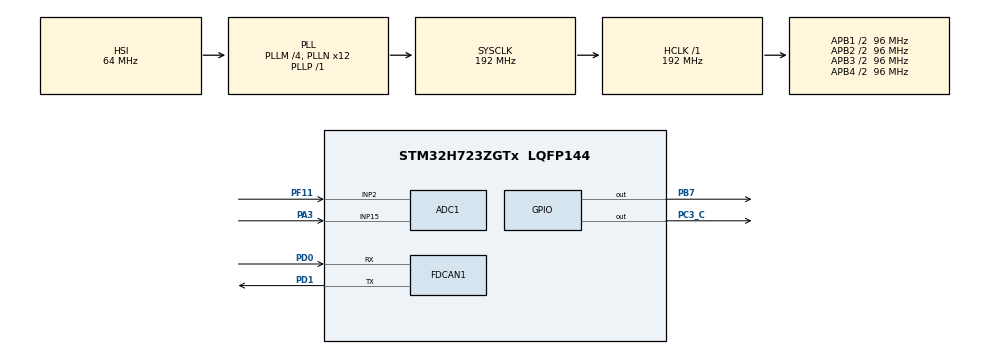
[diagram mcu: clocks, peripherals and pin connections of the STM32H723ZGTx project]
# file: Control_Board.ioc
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ADC1.Channel-0\#ChannelRegularConversion=ADC_CHANNEL_2
ADC1.NbrOfConversionFlag=1
ADC1.OffsetNumber-0\#ChannelRegularConversion=ADC_OFFSET_NONE
ADC1.OffsetSignedSaturation-0\#ChannelRegularConversion=DISABLE
ADC1.Rank-0\#ChannelRegularConversion=1
ADC1.SamplingTime-0\#ChannelRegularConversion=ADC_SAMPLETIME_64CYCLES_5
ADC1.master=1
CORTEX_M7.default_mode_Activation=1
FDCAN1.AutoRetransmission=ENABLE
FDCAN1.CalculateBaudRateNominal=250000
FDCAN1.CalculateTimeBitNominal=4000
FDCAN1.CalculateTimeQuantumNominal=166.66666666666666
FDCAN1.Mode=FDCAN_MODE_NORMAL
FDCAN1.NominalTimeSeg1=20
FDCAN1.NominalTimeSeg2=3
FDCAN1.RxFifo0ElmtsNbr=6
FDCAN1.RxFifo1ElmtsNbr=6
FDCAN1.StdFiltersNbr=2
FDCAN1.TxFifoQueueElmtsNbr=6
FREERTOS.Queues01=CANRxQueue,16,CANRxMessage,0,Dynamic,NULL,NULL;DisplayDataQueue,16,CANRxMessage,0,Dynamic,NULL,NULL;processCAN,16,CANRxMessage,0,Dynamic,NULL,NULL
FREERTOS.Tasks01=PedalControl,24,128,ControlPedal,Default,NULL,Dynamic,NULL,NULL;CANWatchdog,24,128,StartCANWatchdog,Default,NULL,Dynamic,NULL,NULL;APPSCalibration,16,128,StartAPPSCalibration,Default,NULL,Dynamic,NULL,NULL;TestCANSend,24,128,StartTestCANSend,Default,NULL,Dynamic,NULL,NULL;DataDisplay,16,128,StartDataDisplay,Default,NULL,Dynamic,NULL,NULL;Commands,16,128,StartCommands,Default,NULL,Dynamic,NULL,NULL;readCANRX,16,128,StartReadingCANRX,Default,NULL,Dynamic,NULL,NULL;pedalErrorCheck,16,128,StartPedalErrorCheck,Default,NULL,Dynamic,NULL,NULL
FREERTOS.configUSE_NEWLIB_REENTRANT=1
Mcu.Family=STM32H7
Mcu.Name=STM32H723ZGTx
Mcu.Package=LQFP144
NUCLEO-H723ZG.LD1=true
NUCLEO-H723ZG.LD2=true
NUCLEO-H723ZG.LD3=true
NUCLEO-H723ZG.VCP=true
NVIC.FDCAN1_IT0_IRQn=true\:5\:0\:false\:false\:true\:true\:true\:true\:true
NVIC.FDCAN1_IT1_IRQn=true\:5\:0\:false\:false\:true\:true\:true\:true\:true
NVIC.PriorityGroup=NVIC_PRIORITYGROUP_4
NVIC.TIM6_DAC_IRQn=true\:15\:0\:false\:false\:true\:false\:false\:true\:true
NVIC.TimeBase=TIM6_DAC_IRQn
NVIC.TimeBaseIP=TIM6
PA13(JTMS/SWDIO).GPIO_Label=SWDIO
PA13(JTMS/SWDIO).Signal=DEBUG_JTMS-SWDIO
PA14(JTCK/SWCLK).GPIO_Label=SWCLK
PA14(JTCK/SWCLK).Signal=DEBUG_JTCK-SWCLK
PA3.Signal=ADCx_INP15
PB7.Signal=GPIO_Output
PC14-OSC32_IN.Signal=RCC_OSC32_IN
PC15-OSC32_OUT.Signal=RCC_OSC32_OUT
PC3_C.Signal=GPIO_Output
PD0.GPIO_Mode=GPIO_MODE_AF_PP
PD0.GPIO_PuPd=GPIO_NOPULL
PD0.GPIO_Speed=GPIO_SPEED_FREQ_MEDIUM
PD0.Mode=FDCAN_Activate
PD0.Signal=FDCAN1_RX
PD1.GPIO_Speed=GPIO_SPEED_FREQ_MEDIUM
PD1.Mode=FDCAN_Activate
PD1.Signal=FDCAN1_TX
PF11.Mode=IN2-Single-Ended
PF11.Signal=ADC1_INP2
ProjectManager.HeapSize=0x200
ProjectManager.StackSize=0x400
ProjectManager.TargetToolchain=STM32CubeIDE
RCC.ADCFreq_Value=96000000
RCC.APB1Freq_Value=96000000
RCC.APB2Freq_Value=96000000
RCC.APB3Freq_Value=96000000
RCC.APB4Freq_Value=96000000
RCC.CortexFreq_Value=192000000
RCC.D1PPRE=RCC_APB3_DIV2
RCC.D2PPRE1=RCC_APB1_DIV2
RCC.D2PPRE2=RCC_APB2_DIV2
RCC.D3PPRE=RCC_APB4_DIV2
RCC.DIVM1=4
RCC.DIVM2=4
RCC.DIVN1=12
RCC.DIVN2=12
RCC.DIVP1=1
RCC.HCLKFreq_Value=192000000
RCC.HSE_VALUE=8000000
RCC.PLL2FRACN=0
RCC.PLLFRACN=0
RCC.SYSCLKFreq_VALUE=192000000
RCC.SYSCLKSource=RCC_SYSCLKSOURCE_PLLCLK
RCC.USBCLockSelection=RCC_USBCLKSOURCE_HSI48
RCC.USBFreq_Value=48000000
SH.ADCx_INP15.0=ADC1_INP15,IN15-Single-Ended
VP_FREERTOS_VS_CMSIS_V2.Mode=CMSIS_V2
VP_MEMORYMAP_VS_MEMORYMAP.Mode=CurAppReg
VP_NUCLEO-H723ZG_VS_BSP_COMMON.Mode=COMMON
VP_SYS_VS_tim6.Mode=TIM6
board=NUCLEO-H723ZG

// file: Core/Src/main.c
/* USER CODE BEGIN Header */
/**
  ******************************************************************************
  * @file           : main.c
  * @brief          : Main program body
  ******************************************************************************
  * @attention
  *
  * Copyright (c) 2026 STMicroelectronics.
  * All rights reserved.
  *
  * This software is licensed under terms that can be found in the LICENSE file
  * in the root directory of this software component.
  * If no LICENSE file comes with this software, it is provided AS-IS.
  *
  ******************************************************************************
  */
/* USER CODE END Header */
#include "main.h"
#include "FreeRTOS.h"
#include "cmsis_os2.h"
#include "task.h"

/* USER CODE BEGIN Includes */
#include "stm32h7xx_hal.h"
#include <stdio.h>
#include <string.h>
#include <ctype.h>
#include <stdlib.h>
#include <math.h>
#include "stream_buffer.h"

/* USER CODE END Includes */

/* USER CODE BEGIN PD */

//#define DISPLAY_CAN_MESSAGE 1			// Turn this on/off if you want to print/ignore raw CAN Messages
//#define DISPLAY_CAN_ERRORS 1			// Turn this on/off if you want to print/ignore CAN Errors

// Pedal Calibration Inversion Constants
#define  InvertAnalogOnePedal 0 // Swap the max and min pedal voltages on analog line one
#define  InvertAnalogTwoPedal 0 // Swap the max and min pedal voltages on analog line two
#define TEST_MODE

#define UART_BUFFER_SIZE    128
#define COMMAND_BUFFER_SIZE 5
#define TRIGGER 1

/* USER CODE END PD */

COM_InitTypeDef BspCOMInit;
ADC_HandleTypeDef hadc1;

FDCAN_HandleTypeDef hfdcan1;

/* Definitions for PedalControl */
osThreadId_t PedalControlHandle;
const osThreadAttr_t PedalControl_attributes = {
  .name = "PedalControl",
  .stack_size = 128 * 4,
  .priority = (osPriority_t) osPriorityHigh1,
};
/* Definitions for CANWatchdog */
osThreadId_t CANWatchdogHandle;
const osThreadAttr_t CANWatchdog_attributes = {
  .name = "CANWatchdog",
  .stack_size = 128 * 4,
  .priority = (osPriority_t) osPriorityHigh1,
};
/* Definitions for APPSCalibration */
osThreadId_t APPSCalibrationHandle;
const osThreadAttr_t APPSCalibration_attributes = {
  .name = "APPSCalibration",
  .stack_size = 128 * 4,
  .priority = (osPriority_t) osPriorityNormal,
};
/* Definitions for TestCANSend */
osThreadId_t TestCANSendHandle;
const osThreadAttr_t TestCANSend_attributes = {
  .name = "TestCANSend",
  .stack_size = 128 * 4,
  .priority = (osPriority_t) osPriorityNormal,
};
/* Definitions for DataDisplay */
osThreadId_t DataDisplayHandle;
const osThreadAttr_t DataDisplay_attributes = {
  .name = "DataDisplay",
  .stack_size = 128 * 4,
  .priority = (osPriority_t) osPriorityBelowNormal,
};
/* Definitions for Commands */
osThreadId_t CommandsHandle;
const osThreadAttr_t Commands_attributes = {
  .name = "Commands",
  .stack_size = 128 * 4,
  .priority = (osPriority_t) osPriorityBelowNormal,
};
/* Definitions for readCANRX */
osThreadId_t readCANRXHandle;
const osThreadAttr_t readCANRX_attributes = {
  .name = "readCANRX",
  .stack_size = 128 * 4,
  .priority = (osPriority_t) osPriorityBelowNormal,
};
/* Definitions for pedalErrorCheck */
osThreadId_t pedalErrorCheckHandle;
const osThreadAttr_t pedalErrorCheck_attributes = {
  .name = "pedalErrorCheck",
  .stack_size = 128 * 4,
  .priority = (osPriority_t) osPriorityHigh,
};
/* Definitions for CANRxQueue */
osMessageQueueId_t CANRxQueueHandle;
const osMessageQueueAttr_t CANRxQueue_attributes = {
  .name = "CANRxQueue"
};
/* Definitions for DisplayDataQueue */
osMessageQueueId_t DisplayDataQueueHandle;
const osMessageQueueAttr_t DisplayDataQueue_attributes = {
  .name = "DisplayDataQueue"
};
/* Definitions for processCAN */
osMessageQueueId_t processCANHandle;
const osMessageQueueAttr_t processCAN_attributes = {
  .name = "processCAN"
};
/* USER CODE BEGIN PV */

///////////////////////////////////////////////////////////////////////////////////////////////
//////////////////////////////////// Serial Communication /////////////////////////////////////////////////
/////////////////////////////////////////////////////////////////////////////////////////////

StreamBufferHandle_t UARTStreamBuffer;
uint8_t receivedByte = 0; // variable to store byte received from the steam buffer
char commandBuffer[COMMAND_BUFFER_SIZE]; // Buffer to contain commands

uint8_t UART_RxByte;

uint8_t DISPLAY_CAN_MESSAGE = 0;			// Turn this on/off if you want to print/ignore raw CAN Messages
uint8_t DISPLAY_CAN_ERRORS = 0;			// Turn this on/off if you want to print/ignore CAN Errors

///////////////////////////////////////////////////////////////////////////////////////////////
//////////////////////////////////// CAN Bus /////////////////////////////////////////////////
/////////////////////////////////////////////////////////////////////////////////////////////

HAL_StatusTypeDef status;
HAL_StatusTypeDef status2;
HAL_StatusTypeDef status3;
uint32_t txFreeLevel; // Space in TX FIFO left
HAL_FDCAN_StateTypeDef fdcanError;

// global var used by many rtos tasks
// risk of race condition
FDCAN_TxHeaderTypeDef TxHeader; // Header containing the information of the transmitted frame
FDCAN_RxHeaderTypeDef RxHeader; // Header containing the information of the received frame

uint8_t TxData[8] = {0}; // Buffer of the data to send (8 bytes data)
uint8_t WatchDogTxData[8] = {1, 0, 0, 0, 0, 0, 0, 0}; // Random Buffer data to simulate messages for Watchdog
uint8_t RxData[8]; // Buffer of the received data (8 bytes data)
uint32_t TxMailbox; // The number of the email box that transmitted the Tx message

///////////////////////////////////////////////////////////////////////////////////////////////
//////////////////////////////////// Motor Controller ////////////////////////////////////////
/////////////////////////////////////////////////////////////////////////////////////////////

const uint8_t mcNodeId = 0x1a; // Node ID of the MC = 26

// MC commands
const uint16_t cmdSetRelativeCurrent = ((0x05 << 5) + mcNodeId); // Set relative AC current message ID
const uint16_t cmdSetRelativeBrakeCurrent = ((0x06 << 5) + mcNodeId);  // Set relative AC brake current message ID
const uint16_t cmdSetMaxAcCurrent = ((0x06 << 5) + mcNodeId); // Set max AC current limit message ID
const uint16_t cmdSetMaxBrakeCurrent = ((0x09 << 5) + mcNodeId); // Set max AC brake current limit message ID
const uint16_t cmdSetMaxDcCurrent = ((0x0A << 5) + mcNodeId); // Set max DC current limit message ID
const uint16_t cmdSetMaxDcBrakeCurrent = ((0x0B << 5) + mcNodeId); // Set max DC brake current limit message ID
const uint16_t cmdDriveEnable = ((0x0C << 5) + mcNodeId); // Set max DC brake current limit message ID

// Data from MC
const uint16_t RCV_MC_GeneralDataOne = ((0x20 << 5) + mcNodeId); // Using | instead of + wouldn't work here bc there would be overlap between the node ID and the packet ID

// AMS Limits - This is only here temporarily, the limits will be controlled by the AMS
uint16_t DischargeCurrentLimit = 30; // AMS discharge current limit
uint16_t ChargeCurrentLimit = 20; // AMS charge current limit

// Pedal Calibration Constants
float maxPedalVoltage[2] = {3.3, 0.759}; // Max voltages on both analog lines for the pedal input
float minPedalVoltage[2] = {0.5, 0.517}; // Min voltages on both analog lines for the pedal input
float centerPedalVoltage[2] = {0, 0}; // Center voltages on both analog lines for the pedal input. This voltage corresponds position in which braking/throttle is swapped
float PedalDeadbandPercentage = 0.15; // Percent deadband of pedal

// Pedal Error Checking
float maxPedalVoltageDifferencePercentage = 10; //

uint32_t lastThrottleOrBrake = 0; // Gets the time at which a throttle or break CAN message is sent

float testPedalVoltage[2] = {2.0, 1.5}; // temporary test before circuit test implemented
float inputPedalVoltage[2] = {0.0, 0.0}; // voltage that the APPS is outputting to the STM
float inputPedalVoltagePercentages[2] = {0.0, 0.0}; // APPS output voltages as a percentage

char msg[20];
char CANBuffer[100]; // Buffer used to display CAN messages on terminal
uint16_t CalculatedValue = 0; // The value to be sent over to the MC over CAN

uint8_t serialByte; // Rx buffer for data received via USART3/terminal

///////////////////////////////////////////////////////////////////////////////////////////////
////////////////////////////////////CAN Watchdog /////////////////////////////////////////////
/////////////////////////////////////////////////////////////////////////////////////////////

// Initializes variables to be used to check when the last respective message was sent
// uint32_t lastHeartBeatMessage = 0;
 uint32_t lastTemMessage = 0;
 uint32_t lastAmsMessage = 0;
 uint32_t lastMcMessage = 0;
 uint32_t lastChargerMessage = 0;

 uint8_t temSeen = 0;
 uint8_t amsSeen = 0;
 uint8_t mcSeen = 0;
 uint8_t chargerSeen = 0;

// uint32_t lastMessage = 0;
 uint32_t now = 0;

 // Initializes flags to indicate when a certain ECU hasn't sent a message in 500ms, timing out
// uint8_t heartBeatError = 0;
 uint8_t temError = 0;
 uint8_t amsError = 0;
 uint8_t mcError = 0;
 uint8_t chargerError = 0;

 // Creates int to determine if we are charging or not
 uint8_t isCharging = 0;

 static const uint8_t MAX_CAN_MESSAGES = 10; // Maximum # of CAN messages CANWatchdog checks before osDelay

///////////////////////////////////////////////////////////////////////////////////////////////
/////////////////////////////////// Message Display //////////////////////////////////////////
/////////////////////////////////////////////////////////////////////////////////////////////

// Toggle between displaying all or select CAN messages
uint8_t toggleCANRx = 0; // 0 = display all messages, 1 = display select messages
uint8_t packet;

///////////////////////////////////////////////////////////////////////////////////////////////
/////////////////////////////////// Queue Debugging //////////////////////////////////////////
/////////////////////////////////////////////////////////////////////////////////////////////

 uint32_t queueCount; // Amount of items in queue
 uint32_t queueSpace; // Amount of available space left in queue
 osStatus_t queueStatus; // Execution status of the queue

/* USER CODE END PV */

void SystemClock_Config(void);
static void MPU_Config(void);
static void MX_GPIO_Init(void);
static void MX_FDCAN1_Init(void);
static void MX_ADC1_Init(void);
void ControlPedal(void *argument);
void StartCANWatchdog(void *argument);
void StartAPPSCalibration(void *argument);
void StartTestCANSend(void *argument);
void StartDataDisplay(void *argument);
void StartCommands(void *argument);
void StartReadingCANRX(void *argument);
void StartPedalErrorCheck(void *argument);

/* USER CODE BEGIN PFP */

// Prototype for CAN Transmission
HAL_StatusTypeDef CAN_Send(uint32_t id, uint8_t *data, uint32_t length);

// Prototype to see if a certain message hasn't been seen in over 500ms
uint8_t lastMessageSent(uint32_t lastMessage);

/* USER CODE END PFP */

/* USER CODE BEGIN 0 */

typedef struct
{
	uint32_t id;
	uint32_t idType;
	uint32_t dataLength;
	uint8_t data[8];

} CANRxMessage;

CANRxMessage queueBufferMessage; // Data being stored in the queue
CANRxMessage queueBufferRecieved; // Data being read from the queue

// System states
// Bit masks all the states; each state is assigned a 1 and shifted some amount
typedef enum
{
	PEDAL_CALIBRATION 	= (1U << 0), // Assigned 0000 0001
	CAN_PEDAL_CONTROL	= (1U << 1), // Assigned 0000 0010
	MOTOR_SPINNING  	= (1U << 2), // Assigned 0000 0100
	WATCHDOG_FAULTED  	= (1U << 3), // Assigned 0000 1000
	FAULT  				= (1U << 4), // Assigned 0001 0000 (Non-Watchdog Fault)
	READY  				= (1U << 5), // Assigned 0010 0000
} State;

volatile State currentState = WATCHDOG_FAULTED; // init at fault on new boot, changed when safety conditions are met
uint32_t staeFlags = 0; // Variable to hold all the states

/*  More realistic states for future implementation

typedef enum
{
  STATE_INIT,
  STATE_WAITING_FOR_ECUS,
  STATE_READY,
  STATE_RUNNING,
  STATE_APPS_CALIBRATION,
  STATE_CHARGING,
  STATE_FAULT
} SystemState;

SystemState currentState = STATE_INIT;

// helper function to change state for consistency
void setSysState(SystemState newState){
  currentState = newState;
}

// Add state flag

// Clear State flag

*/

/* USER CODE END 0 */

int main(void)
{

  /* USER CODE BEGIN 1 */

//	HAL_Delay(30000); // Delay for when the car starts up

  /* USER CODE END 1 */

  /* MPU Configuration--------------------------------------------------------*/
  MPU_Config();

  /* MCU Configuration--------------------------------------------------------*/

  /* Reset of all peripherals, Initializes the Flash interface and the Systick. */
  HAL_Init();

  /* Configure the system clock */
  SystemClock_Config();

  /* Initialize all configured peripherals */
  MX_GPIO_Init();
  MX_FDCAN1_Init();
  MX_ADC1_Init();
  /* USER CODE BEGIN 2 */

  HAL_NVIC_SetPriority(USART3_IRQn, 5, 0); // Configures interrupt priority for USART3
  HAL_NVIC_EnableIRQ(USART3_IRQn); // Enables the USART interrupt through NVIC

  UARTStreamBuffer = xStreamBufferCreate(UART_BUFFER_SIZE, TRIGGER); // Creates stream buffer for UART commands

  /* USER CODE END 2 */

  /* Init scheduler */
  osKernelInitialize();

  /* Create the queue(s) */
  /* creation of CANRxQueue */
  CANRxQueueHandle = osMessageQueueNew (16, sizeof(CANRxMessage), &CANRxQueue_attributes);

  /* creation of DisplayDataQueue */
  DisplayDataQueueHandle = osMessageQueueNew (16, sizeof(CANRxMessage), &DisplayDataQueue_attributes);

  /* creation of processCAN */
  processCANHandle = osMessageQueueNew (16, sizeof(CANRxMessage), &processCAN_attributes);

  /* Create the thread(s) */
  /* creation of PedalControl */
  PedalControlHandle = osThreadNew(ControlPedal, NULL, &PedalControl_attributes);

  /* creation of CANWatchdog */
  CANWatchdogHandle = osThreadNew(StartCANWatchdog, NULL, &CANWatchdog_attributes);

  /* creation of APPSCalibration */
  APPSCalibrationHandle = osThreadNew(StartAPPSCalibration, NULL, &APPSCalibration_attributes);

  /* creation of TestCANSend */
  TestCANSendHandle = osThreadNew(StartTestCANSend, NULL, &TestCANSend_attributes);

  /* creation of DataDisplay */
  DataDisplayHandle = osThreadNew(StartDataDisplay, NULL, &DataDisplay_attributes);

  /* creation of Commands */
  CommandsHandle = osThreadNew(StartCommands, NULL, &Commands_attributes);

  /* creation of readCANRX */
  readCANRXHandle = osThreadNew(StartReadingCANRX, NULL, &readCANRX_attributes);

  /* creation of pedalErrorCheck */
  pedalErrorCheckHandle = osThreadNew(StartPedalErrorCheck, NULL, &pedalErrorCheck_attributes);

  /* Initialize leds */
  BSP_LED_Init(LED_GREEN);
  BSP_LED_Init(LED_YELLOW);
  BSP_LED_Init(LED_RED);

  /* Initialize COM1 port (115200, 8 bits (7-bit data + 1 stop bit), no parity */
  BspCOMInit.BaudRate   = 115200;
  BspCOMInit.WordLength = COM_WORDLENGTH_8B;
  BspCOMInit.StopBits   = COM_STOPBITS_1;
  BspCOMInit.Parity     = COM_PARITY_NONE;
  BspCOMInit.HwFlowCtl  = COM_HWCONTROL_NONE;
  if (BSP_COM_Init(COM1, &BspCOMInit) != BSP_ERROR_NONE)
  {
    Error_Handler();
  }

  /* Start scheduler */
  osKernelStart();

  /* We should never get here as control is now taken by the scheduler */

  /* Infinite loop */
  while (1)
  {

  }
}

void SystemClock_Config(void)
{
  RCC_OscInitTypeDef RCC_OscInitStruct = {0};
  RCC_ClkInitTypeDef RCC_ClkInitStruct = {0};

  /** Supply configuration update enable
  */
  HAL_PWREx_ConfigSupply(PWR_LDO_SUPPLY);

  /** Configure the main internal regulator output voltage
  */
  __HAL_PWR_VOLTAGESCALING_CONFIG(PWR_REGULATOR_VOLTAGE_SCALE1);

  while(!__HAL_PWR_GET_FLAG(PWR_FLAG_VOSRDY)) {}

  /** Initializes the RCC Oscillators according to the specified parameters
  * in the RCC_OscInitTypeDef structure.
  */
  RCC_OscInitStruct.OscillatorType = RCC_OSCILLATORTYPE_HSI;
  RCC_OscInitStruct.HSIState = RCC_HSI_DIV1;
  RCC_OscInitStruct.HSICalibrationValue = 64;
  RCC_OscInitStruct.PLL.PLLState = RCC_PLL_ON;
  RCC_OscInitStruct.PLL.PLLSource = RCC_PLLSOURCE_HSI;
  RCC_OscInitStruct.PLL.PLLM = 4;
  RCC_OscInitStruct.PLL.PLLN = 12;
  RCC_OscInitStruct.PLL.PLLP = 1;
  RCC_OscInitStruct.PLL.PLLQ = 2;
  RCC_OscInitStruct.PLL.PLLR = 2;
  RCC_OscInitStruct.PLL.PLLRGE = RCC_PLL1VCIRANGE_3;
  RCC_OscInitStruct.PLL.PLLVCOSEL = RCC_PLL1VCOWIDE;
  RCC_OscInitStruct.PLL.PLLFRACN = 0;
  if (HAL_RCC_OscConfig(&RCC_OscInitStruct) != HAL_OK)
  {
    Error_Handler();
  }

  /** Initializes the CPU, AHB and APB buses clocks
  */
  RCC_ClkInitStruct.ClockType = RCC_CLOCKTYPE_HCLK|RCC_CLOCKTYPE_SYSCLK
                              |RCC_CLOCKTYPE_PCLK1|RCC_CLOCKTYPE_PCLK2
                              |RCC_CLOCKTYPE_D3PCLK1|RCC_CLOCKTYPE_D1PCLK1;
  RCC_ClkInitStruct.SYSCLKSource = RCC_SYSCLKSOURCE_PLLCLK;
  RCC_ClkInitStruct.SYSCLKDivider = RCC_SYSCLK_DIV1;
  RCC_ClkInitStruct.AHBCLKDivider = RCC_HCLK_DIV1;
  RCC_ClkInitStruct.APB3CLKDivider = RCC_APB3_DIV2;
  RCC_ClkInitStruct.APB1CLKDivider = RCC_APB1_DIV2;
  RCC_ClkInitStruct.APB2CLKDivider = RCC_APB2_DIV2;
  RCC_ClkInitStruct.APB4CLKDivider = RCC_APB4_DIV2;

  if (HAL_RCC_ClockConfig(&RCC_ClkInitStruct, FLASH_LATENCY_2) != HAL_OK)
  {
    Error_Handler();
  }
}

static void MX_ADC1_Init(void)
{

  ADC_MultiModeTypeDef multimode = {0};
  ADC_ChannelConfTypeDef sConfig = {0};

  /** Common config
  */
  hadc1.Instance = ADC1;
  hadc1.Init.ClockPrescaler = ADC_CLOCK_ASYNC_DIV1;
  hadc1.Init.Resolution = ADC_RESOLUTION_16B;
  hadc1.Init.ScanConvMode = ADC_SCAN_DISABLE;
  hadc1.Init.EOCSelection = ADC_EOC_SINGLE_CONV;
  hadc1.Init.LowPowerAutoWait = DISABLE;
  hadc1.Init.ContinuousConvMode = DISABLE;
  hadc1.Init.NbrOfConversion = 1;
  hadc1.Init.DiscontinuousConvMode = DISABLE;
  hadc1.Init.ExternalTrigConv = ADC_SOFTWARE_START;
  hadc1.Init.ExternalTrigConvEdge = ADC_EXTERNALTRIGCONVEDGE_NONE;
  hadc1.Init.ConversionDataManagement = ADC_CONVERSIONDATA_DR;
  hadc1.Init.Overrun = ADC_OVR_DATA_PRESERVED;
  hadc1.Init.LeftBitShift = ADC_LEFTBITSHIFT_NONE;
  hadc1.Init.OversamplingMode = DISABLE;
  hadc1.Init.Oversampling.Ratio = 1;
  if (HAL_ADC_Init(&hadc1) != HAL_OK)
  {
    Error_Handler();
  }

  /** Configure the ADC multi-mode
  */
  multimode.Mode = ADC_MODE_INDEPENDENT;
  if (HAL_ADCEx_MultiModeConfigChannel(&hadc1, &multimode) != HAL_OK)
  {
    Error_Handler();
  }

  /** Configure Regular Channel
  */
  sConfig.Channel = ADC_CHANNEL_2;
  sConfig.Rank = ADC_REGULAR_RANK_1;
  sConfig.SamplingTime = ADC_SAMPLETIME_64CYCLES_5;
  sConfig.SingleDiff = ADC_SINGLE_ENDED;
  sConfig.OffsetNumber = ADC_OFFSET_NONE;
  sConfig.Offset = 0;
  sConfig.OffsetSignedSaturation = DISABLE;
  if (HAL_ADC_ConfigChannel(&hadc1, &sConfig) != HAL_OK)
  {
    Error_Handler();
  }

}

static void MX_FDCAN1_Init(void)
{

  /* USER CODE BEGIN FDCAN1_Init 0 */

	FDCAN_FilterTypeDef filter = {0}; // Declares filter

  /* USER CODE END FDCAN1_Init 0 */

  hfdcan1.Instance = FDCAN1;
  hfdcan1.Init.FrameFormat = FDCAN_FRAME_CLASSIC;
  hfdcan1.Init.Mode = FDCAN_MODE_INTERNAL_LOOPBACK;
  hfdcan1.Init.AutoRetransmission = ENABLE;
  hfdcan1.Init.TransmitPause = DISABLE;
  hfdcan1.Init.ProtocolException = DISABLE;
  hfdcan1.Init.NominalPrescaler = 16;
  hfdcan1.Init.NominalSyncJumpWidth = 1;
  hfdcan1.Init.NominalTimeSeg1 = 20;
  hfdcan1.Init.NominalTimeSeg2 = 3;
  hfdcan1.Init.DataPrescaler = 1;
  hfdcan1.Init.DataSyncJumpWidth = 1;
  hfdcan1.Init.DataTimeSeg1 = 1;
  hfdcan1.Init.DataTimeSeg2 = 1;
  hfdcan1.Init.MessageRAMOffset = 0;
  hfdcan1.Init.StdFiltersNbr = 2;
  hfdcan1.Init.ExtFiltersNbr = 0;
  hfdcan1.Init.RxFifo0ElmtsNbr = 6;
  hfdcan1.Init.RxFifo0ElmtSize = FDCAN_DATA_BYTES_8;
  hfdcan1.Init.RxFifo1ElmtsNbr = 6;
  hfdcan1.Init.RxFifo1ElmtSize = FDCAN_DATA_BYTES_8;
  hfdcan1.Init.RxBuffersNbr = 0;
  hfdcan1.Init.RxBufferSize = FDCAN_DATA_BYTES_8;
  hfdcan1.Init.TxEventsNbr = 0;
  hfdcan1.Init.TxBuffersNbr = 0;
  hfdcan1.Init.TxFifoQueueElmtsNbr = 32;
  hfdcan1.Init.TxFifoQueueMode = FDCAN_TX_FIFO_OPERATION;
  hfdcan1.Init.TxElmtSize = FDCAN_DATA_BYTES_8;
  if (HAL_FDCAN_Init(&hfdcan1) != HAL_OK)
  {
    Error_Handler();
  }
  /* USER CODE BEGIN FDCAN1_Init 2 */

  // Sets up filters for CAN messages;
  // Filter One
  // Allows all messages to pass

	  filter.IdType = FDCAN_STANDARD_ID;          // Apply this filter to 11-bit Standard IDs
	  filter.FilterIndex = 0;                     // First slot in the filter list (0 to 27)
	  filter.FilterType = FDCAN_FILTER_MASK;      // Classic ID + Mask mode (replaces CAN_FILTERMODE_IDMASK)
	  filter.FilterConfig = FDCAN_FILTER_TO_RXFIFO0; // Route matching packets directly to FIFO0
	  filter.FilterID1 = 0x0000;                  // Base ID to match (accept all if 0)
	  filter.FilterID2 = 0x0000;                  // Mask value (0x0000 means "don't care", accepting all packets)

      if (HAL_FDCAN_ConfigFilter(&hfdcan1, &filter) != HAL_OK) // checks to see if filter is configured correctly
      {
    	  // Filter configuration error
    	  Error_Handler();
      }

      // Starts CAN peripheral if filter config is good
      if (HAL_FDCAN_Start(&hfdcan1) != HAL_OK) // Tries to start CAN and checks for error
      {
    	  Error_Handler();
      }

      // Activate CAN RX notifications on FIFO0
      if (HAL_FDCAN_ActivateNotification(&hfdcan1, FDCAN_IT_RX_FIFO0_NEW_MESSAGE, 0) != HAL_OK) // 0 means it only focuses on Rx interrupts
      {
    	  Error_Handler();
      }

//      TxData[0] = 0;
//      TxData[7] = 0xFF;

  /* USER CODE END FDCAN1_Init 2 */

}

static void MX_GPIO_Init(void)
{
  GPIO_InitTypeDef GPIO_InitStruct = {0};

  /* GPIO Ports Clock Enable */
  __HAL_RCC_GPIOC_CLK_ENABLE();
  __HAL_RCC_GPIOF_CLK_ENABLE();
  __HAL_RCC_GPIOA_CLK_ENABLE();
  __HAL_RCC_GPIOD_CLK_ENABLE();
  __HAL_RCC_GPIOB_CLK_ENABLE();

  /*Configure GPIO pin Output Level */
  HAL_GPIO_WritePin(GPIOC, GPIO_PIN_3, GPIO_PIN_RESET);

  /*Configure GPIO pin Output Level */
  HAL_GPIO_WritePin(GPIOB, GPIO_PIN_7, GPIO_PIN_RESET);

  /*Configure GPIO pin : PC3 */
  GPIO_InitStruct.Pin = GPIO_PIN_3;
  GPIO_InitStruct.Mode = GPIO_MODE_OUTPUT_PP;
  GPIO_InitStruct.Pull = GPIO_NOPULL;
  GPIO_InitStruct.Speed = GPIO_SPEED_FREQ_LOW;
  HAL_GPIO_Init(GPIOC, &GPIO_InitStruct);

  /*Configure GPIO pin : PB7 */
  GPIO_InitStruct.Pin = GPIO_PIN_7;
  GPIO_InitStruct.Mode = GPIO_MODE_OUTPUT_PP;
  GPIO_InitStruct.Pull = GPIO_NOPULL;
  GPIO_InitStruct.Speed = GPIO_SPEED_FREQ_LOW;
  HAL_GPIO_Init(GPIOB, &GPIO_InitStruct);

  /*AnalogSwitch Config */
  HAL_SYSCFG_AnalogSwitchConfig(SYSCFG_SWITCH_PC3, SYSCFG_SWITCH_PC3_CLOSE);

}

/* USER CODE BEGIN 4 */

// Callback function for data received on UART3/terminal
void HAL_UART_RxCpltCallback(UART_HandleTypeDef *huart)
{
	BaseType_t xHigherPriorityTaskWoken = pdFALSE; // Need to explain this later

    if (huart == &hcom_uart[COM1]) // Checks which COM/UART triggered the callback function. In this case, COM1/UART3
    {
//    	printf("Received: %c\r\n", serialByte); // Echoes back what was inputed into the terminal

    	 // Stores received byte into the streambuffer
		 xStreamBufferSendFromISR(
				 UARTStreamBuffer, // The handle of the stream buffer to which a stream is being sent.
				 &serialByte, // Pointer to buffer that holds the values to be copied into the stream buffer
				 1, //
				 &xHigherPriorityTaskWoken );

        HAL_UART_Receive_IT(&hcom_uart[COM1], &serialByte, 1); // Tells HAL to continue waiting for 1  byte of data from the terminal

        portYIELD_FROM_ISR( xHigherPriorityTaskWoken ); // Allows higher priority task to execute immediately after the ISR exits.
    }
}

// Callback function for data received on FIFO0
void HAL_FDCAN_RxFifo0Callback(FDCAN_HandleTypeDef *hfdcan, uint32_t RxFifo0ITs)
{

	 if((RxFifo0ITs & FDCAN_IT_RX_FIFO0_NEW_MESSAGE) != RESET)
	 {
		 /* Retrieve Rx messages from RX FIFO0 */
		 if (HAL_FDCAN_GetRxMessage(hfdcan, FDCAN_RX_FIFO0, &RxHeader, RxData) != HAL_OK)
		 {
			 // Reception Error; error thrown if the receive fails
			 Error_Handler();
		 }

	 }

//	 lastMessage = HAL_GetTick();

	 now = HAL_GetTick();
//   BSP_LED_On(LED_RED);
   	 CANRxMessage CANmsg;
	 CANmsg.id = RxHeader.Identifier;
	 CANmsg.idType = RxHeader.IdType;
	 CANmsg.dataLength = RxHeader.DataLength;
	 memcpy(CANmsg.data, RxData, 8); // Passes a copy of RxData to CANmsg.data; '=' would not work here since array assignment can't be done, plus it would become a pointer
//	 queueBufferMessage = CANmsg;

	 osMessageQueuePut(CANRxQueueHandle, &CANmsg, 0, 0); // Adds received CAN message to CANRx queue
	 osMessageQueuePut(processCANHandle, &CANmsg, 0, 0); // Adds received CAN message to CANRx queue
	 osMessageQueuePut(DisplayDataQueueHandle, &CANmsg, 0, 0);

}

// CAN Transmit Function
HAL_StatusTypeDef CAN_Send(uint32_t id, uint8_t *data, uint32_t length)
{
    // local to the function; see global declaration comments
    FDCAN_TxHeaderTypeDef txHeader = {0};
//    CAN_TxHeaderTypeDef txHeader;
//    uint32_t TxMailbox;
	  txHeader.Identifier = id;
	  txHeader.TxFrameType  = FDCAN_DATA_FRAME; // Remote Transmission Request (RTR) tells CAN controller we are sending data
	  txHeader.IdType  = FDCAN_STANDARD_ID; // Identifies if we are using extended(29-bit) or standard (11-bit) CAN; It is currently set to standard

	  switch (length)
	  {
	      case 0: txHeader.DataLength = FDCAN_DLC_BYTES_0; break; // Data Length Code (DLC) -- The number of bytes in the data frame
	      case 1: txHeader.DataLength = FDCAN_DLC_BYTES_1; break;
	      case 2: txHeader.DataLength = FDCAN_DLC_BYTES_2; break;
	      case 3: txHeader.DataLength = FDCAN_DLC_BYTES_3; break;
	      case 4: txHeader.DataLength = FDCAN_DLC_BYTES_4; break;
	      case 5: txHeader.DataLength = FDCAN_DLC_BYTES_5; break;
	      case 6: txHeader.DataLength = FDCAN_DLC_BYTES_6; break;
	      case 7: txHeader.DataLength = FDCAN_DLC_BYTES_7; break;
	      case 8: txHeader.DataLength = FDCAN_DLC_BYTES_8; break;

	      default:
	          // Invalid CAN payload length
	    	  txHeader.DataLength = FDCAN_DLC_BYTES_8; break;
	          break;
	  }

	  txHeader.FDFormat = FDCAN_CLASSIC_CAN;   // Configures behavior as standard CAN
	  txHeader.BitRateSwitch = FDCAN_BRS_OFF;  // No fast data baud-rate switching (this is for standard CAN)
	  txHeader.ErrorStateIndicator = FDCAN_ESI_ACTIVE;
	  txHeader.TxEventFifoControl = FDCAN_NO_TX_EVENTS; // Disables internal timestamp when sending data
	  txHeader.MessageMarker = 0; // Doesn't matter since FIFOControl is off

	  txFreeLevel = HAL_FDCAN_GetTxFifoFreeLevel(&hfdcan1); // returns 0 -> FIFO is Full
	  	while ((status2 = HAL_FDCAN_AddMessageToTxFifoQ(&hfdcan1, &txHeader, data)) != HAL_OK) // Wait till a Tx mailbox is free.
	  	{
//	  		txFreeLevel = HAL_FDCAN_GetTxFifoFreeLevel(&hfdcan1); // returns 0 -> FIFO is Full
//	  		fdcanError = hfdcan1.ErrorCode; // Returns 32 = 0x20 -> FIFO is Full
	  		osDelay(50); // Give back control to scheduler for 1ms

	  	}
//    return HAL_FDCAN_AddMessageToTxFifoQ(&hfdcan1, &txHeader, data);
//           --> status2
	  	return status2;
}

// Function to check if a certain message was received over the last half second
uint8_t lastMessageSent(uint32_t lastMessage){
	if ((HAL_GetTick() - lastMessage) >= 500) { // 500ms = 0.5s
		return 1;
	}
	return 0;
}

// Function that performs the Watchdog checks
void watchdogCheck(CANRxMessage canMSG)
{
	 switch (canMSG.id){
		case 0x080:
		  lastTemMessage = now;
		  temSeen = 1;
		  break;

		case 0x7E3:
		  lastAmsMessage = now;
		  amsSeen = 1;

		  if (canMSG.data[0] == 0xFF){
			isCharging = 1;

			if (DISPLAY_CAN_ERRORS){
			  if (canMSG.data[1] != 0x00){
				printf("AMS CAN Charging Message is Corrupt.\r\n");
				fflush(stdout);
			  }
			}
		  } else if (canMSG.data[0] == 0x00){
			isCharging = 0;

			if (DISPLAY_CAN_ERRORS){
			  if (canMSG.data[1] != 0xFF){
				printf("AMS CAN Charging Message is Corrupt.\r\n");
				fflush(stdout);
			  }
			}
		  }

		  break;

		case 0x41A: // (0x20 << 5) + 0x1a
		  lastMcMessage = now;
		  mcSeen = 1;
		  break;

		case 0x18FF50E5:
		  lastChargerMessage = now;
		  chargerSeen = 1;
		  break;
	 }

	 // Check if each message has been received over the past half second
	 //heartBeatError = lastMessageSent(lastHeartBeatMessage);

	  temError = lastMessageSent(lastTemMessage);
	  amsError = lastMessageSent(lastAmsMessage);
	  mcError = lastMessageSent(lastMcMessage);

	  if (isCharging){
		chargerError = lastMessageSent(lastChargerMessage);
	  } else {
		chargerError = 0;
	  }

	  if (temError || amsError || mcError || chargerError){

		// Uses on board LED or external LEDs depending on whether the STM is in test mode
		// BSP LED syntax will not be highlighted if not in TEST mode, and vice versa
		#ifdef TEST_MODE

			BSP_LED_On(LED_RED);
			BSP_LED_Off(LED_GREEN);

		#else

			HAL_GPIO_WritePin(GPIOB, GPIO_PIN_7, GPIO_PIN_SET); // This turns the LED on
			HAL_GPIO_WritePin(GPIOC, GPIO_PIN_3, GPIO_PIN_RESET);

		#endif

		// Displays to the console any errors
		if(DISPLAY_CAN_ERRORS){
 //			  if(heartBeatError)
 //			  {
 //				  printf("Heartbeat message not received within 500ms.\r\n");
 //				  fflush(stdout);
 //			  }
		  if(temError)
		  {
			printf("TEM message not received within 500ms.\r\n");
			fflush(stdout);
		  }
		  if(amsError)
		  {
			printf("AMS message not received within 500ms.\r\n");
			fflush(stdout);
		  }
		  if(mcError)
		  {
			printf("MC message not received within 500ms.\r\n");
			fflush(stdout);
		  }
		  if(chargerError)
		  {
			printf("Charger message not received within 500ms.\r\n");
			fflush(stdout);
		  }
		}
	  } else {

			#ifdef TEST_MODE

		        BSP_LED_Off(LED_RED);
		        BSP_LED_On(LED_GREEN);

			#else

				HAL_GPIO_WritePin(GPIOB, GPIO_PIN_7, GPIO_PIN_RESET); // This turns the LED off
				HAL_GPIO_WritePin(GPIOC, GPIO_PIN_3, GPIO_PIN_SET);

			#endif
	  }
}

/* USER CODE END 4 */

void ControlPedal(void *argument)
{
  /* USER CODE BEGIN 5 */

	uint32_t throttleCommandReceived;

	HAL_ADC_Start(&hadc1); // Starts ADC1 on STM32
//  osThreadSuspend(PedalControlHandle);
	centerPedalVoltage[0] = ((maxPedalVoltage[0] - minPedalVoltage[0]) / 2);
	centerPedalVoltage[1] = ((maxPedalVoltage[1] - minPedalVoltage[1]) / 2);

  FDCAN_TxHeaderTypeDef pedalTxHeader = {0};

  pedalTxHeader.TxFrameType = FDCAN_DATA_FRAME;
  pedalTxHeader.IdType = FDCAN_STANDARD_ID;
  pedalTxHeader.DataLength = FDCAN_DLC_BYTES_8;
  pedalTxHeader.FDFormat = FDCAN_CLASSIC_CAN;
  pedalTxHeader.BitRateSwitch = FDCAN_BRS_OFF;
  pedalTxHeader.ErrorStateIndicator = FDCAN_ESI_ACTIVE;
  pedalTxHeader.TxEventFifoControl = FDCAN_NO_TX_EVENTS;
  pedalTxHeader.MessageMarker = 0;

  /* Infinite loop */
  for(;;)
  {
	  memset(TxData, 0xFF, sizeof(TxData)); // Sets all the bytes in TxData to 0xFF

//	  pedalTxHeader.Identifier = CMD_DriveEnable;
//	  TxData[0] = (1 >> 8) & 0xFF;   // 0x00
//	  TxData[1] = 1 & 0xFF;          // 0xc8

#ifdef TEST_MODE

//	  if(0) // Check if state is in serial CAN control
//	  {
//		  if (xTaskNotifyWait(
//		                  0,
//		                  UINT32_MAX,
//		                  &throttleCommandReceived, // The variable to pass
//		                  portMAX_DELAY) == pdPASS)
//		          {
//		              // Process received throttle command
//		              printf("Throttle Command Received \r\n");
//		          }
//
//	  }
//	  else // Use analog control
//	  {
	  if (xTaskNotifyWait(
	                  0,
	                  UINT32_MAX,
	                  &throttleCommandReceived, // The variable to pass
	                  portMAX_DELAY) == pdPASS)
	          {
	              // Process received throttle command
	              printf("Throttle Command Received \r\n");
	          }

	      inputPedalVoltage[0] = testPedalVoltage[0];
	      inputPedalVoltage[1] = testPedalVoltage[1];
//	  }

#else
	  //	UBaseType_t highWaterMark;

	  	  if (HAL_ADC_PollForConversion(&hadc1, 20) == HAL_OK) // ADC data collected via polling with timeout of 20 units
	  	  {
	  		  inputPedalVoltage[0] = (HAL_ADC_GetValue(&hadc1)) * (3.3 / 65535); // Pedal voltage in 3.3V range

	  	  }
#endif
	  	// Will need to think about what to do when pedal voltage is exactly the center voltage. However, this is where deadband may come in
	  	if (inputPedalVoltage[0] > centerPedalVoltage[0] && inputPedalVoltage[0] <= maxPedalVoltage[0]) // Checks if the car is trying to accelerate and is not faulted
	  	{

	  		pedalTxHeader.Identifier = cmdSetRelativeCurrent; // ID the STM is transmitting with

	  		CalculatedValue = ((inputPedalVoltage[0] - centerPedalVoltage[0]) / (maxPedalVoltage[0] - centerPedalVoltage[0])) * 1000;

	  		// Splits 16 bit calculated value into two separate bytes. This is because the MC expects a 2 byte long data frame
	  		// Shifting order is because of Big Endian format on MC
	  		// 0xFF used to explicitly select the correct bits to be sent.

	  		TxData[0] = (CalculatedValue >> 8) & 0xFF;   // 0x00
	  		TxData[1] = CalculatedValue & 0xFF;          // 0xc8

	  	}
	  	else if (inputPedalVoltage[0] < centerPedalVoltage[0] && inputPedalVoltage[0] >= minPedalVoltage[0]) // Checks if the car is braking and is not faulted
	  	{
	  		pedalTxHeader.Identifier = cmdSetRelativeBrakeCurrent; // ID the STM is transmitting with

	  		CalculatedValue = ((inputPedalVoltage[0] - minPedalVoltage[0]) / (centerPedalVoltage[0] - minPedalVoltage[0])) * 1000;

	  		TxData[0] = (CalculatedValue >> 8) & 0xFF;   // 0x00; Shifts the value to the right by 1 byte, allowing only 0s to be read with masking
	  		TxData[1] = CalculatedValue & 0xFF;          // 0xc8; Only reads the actual value
	  	}
	  	else
	  	{

//	  		pedalTxHeader.Identifier = cmdDriveEnable;
//		    TxData[0] = (0 >> 8) & 0xFF;   // 0x00
//		    TxData[1] = 0 & 0xFF;
	  	}

  		txFreeLevel = HAL_FDCAN_GetTxFifoFreeLevel(&hfdcan1); // returns 0 -> FIFO is Full
  		//fdcanError = hfdcan1.ErrorCode; // Returns 32 = 0x20 -> FIFO is Full
  		fdcanError = HAL_FDCAN_GetError(&hfdcan1);

	  	while ((status = HAL_FDCAN_AddMessageToTxFifoQ(&hfdcan1, &pedalTxHeader, TxData)) != HAL_OK) // Wait till a Tx mailbox is free.
	  	{
//	  		txFreeLevel = HAL_FDCAN_GetTxFifoFreeLevel(&hfdcan1); // returns 0 -> FIFO is Full
//	  		fdcanError = hfdcan1.ErrorCode; // Returns 32 = 0x20 -> FIFO is Full
	  		BSP_LED_Toggle(LED_YELLOW);
	  		osDelay(50); // Give back control to scheduler for 1ms
//	  		Error_Handler();

	  	}

//	  //	highWaterMark = uxTaskGetStackHighWaterMark(NULL);
//	  //
//	  //	printf("Unused stack: %lu words\r\n", (uint32_t)highWaterMark); // Prints how much space a task is not using

	    osDelay(20); // Without delay the Tx Mailbox reaches an error, most likely it fills up to quick. Needs to be checked to confirm
  }
  /* USER CODE END 5 */
}

void StartCANWatchdog(void *argument)
{
  /* USER CODE BEGIN StartCANWatchdog */
  /* Infinite loop */
  for(;;)
  {

	// Process the first CAN message in a batch of 10 CAN messages
	// the following watchdog relies on receiving messages from osMessageQueueGet()
	// if nothing arrives (i.e., all ECUs are dead) it will stop functioning

	 queueCount = osMessageQueueGetCount(CANRxQueueHandle);
	 queueSpace = osMessageQueueGetSpace(CANRxQueueHandle);

	 CANRxMessage canMSG;
	 osMessageQueueGet(CANRxQueueHandle, &canMSG, NULL, 100); // Gets and removes item from CANRx queue; puts task in blocked state for 100ms if queue is full

	 queueBufferRecieved = canMSG; // For testing

	// Based on the CAN ID, determines what ECU sent the message, and update the time that
	// the ECU sent it's message, as well as resetting any error
	 watchdogCheck(canMSG);

	  // Check the 9 other CAN messages in a batch
	  for (int i = 0; i < (MAX_CAN_MESSAGES - 1); i++)
	  {
		  if (osMessageQueueGet(CANRxQueueHandle, &canMSG, NULL, 100) == osOK) // Blocks for 100ms unless CAN message obtained from queue
		  {
			  watchdogCheck(canMSG);
		  }
		  else
		  {
			  break;
		  }
	  }

	  osDelay(50);
  }
  /* USER CODE END StartCANWatchdog */
}

void StartAPPSCalibration(void *argument)
{
  /* USER CODE BEGIN StartAPPSCalibration */
	printf("APPS Calibration Started \r\n");
	osThreadSuspend(APPSCalibrationHandle); // Suspends APPS calibration task
//	printf("APPS Calibration Started");

  /* Infinite loop */
  for(;;)
  {
	// Task should be suspended if the motor is spinning
//	  BSP_LED_Toggle(LED_YELLOW);
	  HAL_ADC_Start(&hadc1); // Starts ADC1 on STM32

	  if (HAL_ADC_PollForConversion(&hadc1, 20) == HAL_OK)
	  {
		  inputPedalVoltage[0] = (HAL_ADC_GetValue(&hadc1)) * (3.3 / 65535);
//		  BSP_LED_Toggle(LED_YELLOW);

	  }
	  else
	  {
//		  BSP_LED_Toggle(LED_RED);
	  }

	  if (inputPedalVoltage[0] > maxPedalVoltage[0])
	  {
		  maxPedalVoltage[0] = inputPedalVoltage[0];
	  }
	  else if (inputPedalVoltage[0] < minPedalVoltage[0])
	  {
		minPedalVoltage[0] = inputPedalVoltage[0];;
	  }

	  // centerPedalVoltage = minPedalVoltage + ((maxPedalVoltage - minPedalVoltage) / 2);

	  // printf("Max Pedal Voltage: %.3f ", maxPedalVoltage[0]);
	  // printf("Min Pedal Voltage: %.3f ", minPedalVoltage[0]);
	  printf("Reading Pedal Voltage... \r\n");

    //osDelay(20); // Take off for now to allow give scheduler full control of switching
  }
  /* USER CODE END StartAPPSCalibration */
}

void StartTestCANSend(void *argument)
{
  /* USER CODE BEGIN StartTestCANSend */
  /* Infinite loop */
  for(;;)
  {

	 // Send placeholder CAN messages
	 CAN_Send(0x080, WatchDogTxData, 8); // TEM message
	 CAN_Send(0x7E3, WatchDogTxData, 8); // AMS message
//	 CAN_Send(cmdDriveEnable, WatchDogTxData, 8); // MC message

	 CAN_Send(RCV_MC_GeneralDataOne, WatchDogTxData, 8); // General MC data

	 osDelay(50);
  }
  /* USER CODE END StartTestCANSend */
}

void StartDataDisplay(void *argument)
{
  /* USER CODE BEGIN StartDataDisplay */
  /* Infinite loop */
  for(;;)
  {

	// Display the CAN message to the serial monitor
	if(DISPLAY_CAN_MESSAGE){

	    CANRxMessage CANPrintmsg;
	    osMessageQueueGet(DisplayDataQueueHandle, &CANPrintmsg, NULL, osWaitForever); // Pull data from DisplayData queue

		// Change Print syntax based on standard vs. extended
		if (CANPrintmsg.idType == FDCAN_STANDARD_ID){
			printf("RX STD ID: 0x%03lX | Data:", CANPrintmsg.id);
		}
		else{
			printf("RX EXT ID: 0x%08lX | Data:", CANPrintmsg.id);
		}

		for (int i = 0; i < CANPrintmsg.dataLength; i++)
			printf(" %02X", CANPrintmsg.data[i]);

		printf("\r\n");
//		osDelay(50); // Commented out to allow scheduler to take control of context switch

	}
	else
	{
		osThreadSuspend(DataDisplayHandle); // Suspends the DataDisplay task
	}
  }
  /* USER CODE END StartDataDisplay */
}

void StartCommands(void *argument)
{
  /* USER CODE BEGIN StartCommands */

	if( UARTStreamBuffer == NULL )
	{
	  /* There was not enough heap memory space available to create the
		 stream buffer. */
	  printf("Stream creation unsuccessful \r\n");
	}
	else
  	{
	  /* The stream buffer was created successfully and can now be used. */
	  printf("Stream Buffer Created \r\n");
  	}

//	uint8_t receivedByte = 0; // variable to store byte received from the steam buffer

	uint8_t charCommand = 0;

//	char commandBuffer[COMMAND_BUFFER_SIZE]; // Buffer to contain commands
	uint16_t commandIndex = 0; // Index for buffer

	uint32_t throttleCommand = 0.0;

	memset(commandBuffer, 0, sizeof(commandBuffer));   // Initialize commandBuffer to have all 0s

	HAL_UART_Receive_IT(&hcom_uart[COM1], &serialByte, 1);  // Receives 1 byte of data and triggers interrupt;

  /* Infinite loop */
  for(;;)
  {

	// Wait until one byte is received
    xStreamBufferReceive(
        UARTStreamBuffer,
        &receivedByte, // Reference to variable to store the received byte
        1,
        portMAX_DELAY // Wait forever, indefinitely blocks the tasks
    );

    if (receivedByte == 'y') // Check if enter was pressed (corresponds to the end of a command)
    {
    	commandBuffer[commandIndex] = 'F'; // Marks the end of the command

    	if (commandIndex > 1)
    	{
    		if (1) // Check if state is serial CAN control
    		{
    			// Figure out throttle command

    	        // Send throttle command to motor control task
    	        xTaskNotify(
    	            (TaskHandle_t)PedalControlHandle, // Task to notify
    	            throttleCommand, // Value being sent to the receiving task
    	            eSetValueWithOverwrite // Overwrite old notification when a new one is ready (maybe not)
    	        );
    		}
    		commandIndex = 0;
    		printf("Multi-character input \r\n");
    	}
    	else
    	{

    		charCommand = commandBuffer[0];
    		switch(charCommand) // Reads values as ascii characters; numbers need to be converted to char type before checking
			{
				case 'a':
				{
					//osThreadSuspend(DataDisplayHandle);
					DISPLAY_CAN_MESSAGE = 0;
					//DISPLAY_CAN_ERRORS = 0;
					break;
				}
				case 'd':
				{
					//osThreadResume(DataDisplayHandle);
					DISPLAY_CAN_MESSAGE = 1;
					//DISPLAY_CAN_ERRORS = 1;
					osThreadResume(DataDisplayHandle);
					break;
				}
				case 'c': // Begin pedal calibration
				{
					if (currentState == MOTOR_SPINNING) // Don't allow calibration to begin if the motor is still rotating
					{
						break;
					}

					DISPLAY_CAN_MESSAGE = 0;
					printf("Starting Pedal Calibration... \r\n");
					status3 = osThreadSuspend(PedalControlHandle); // Suspends pedal control task

					//osDelay(50);

					// start at the opposite end and calibrate towards the desired end
					// 0.0 --up--> max
					// 3.3 -down-> min
					maxPedalVoltage[0] = 0.0f;
					minPedalVoltage[0] = 3.3f;

					printf("Click enter to complete calibration \r\n");
					osThreadResume(APPSCalibrationHandle); // Resumes APPS calibration task

					break; // Without break, other cases below will all execute until a break statement occurs
				}
				case 'x': // Space bar is clicked; end pedal calibration
				{
					centerPedalVoltage[0] = ((maxPedalVoltage[0] - minPedalVoltage[0]) / 2);
					centerPedalVoltage[1] = ((maxPedalVoltage[1] - minPedalVoltage[1]) / 2);
					osThreadSuspend(APPSCalibrationHandle);
					printf("Ending Pedal Calibration...");
					DISPLAY_CAN_MESSAGE = 1;
					osThreadResume(PedalControlHandle);

					//osThreadResume(DataDisplayHandle);
					break;
				}
				// case 't': // Toggles display variable for displaying CAN messages
				// {
				// toggleCANRx = !toggleCANRx; // toggles the value of toggleCANRx; 0 -> 1, 1 -> 0
				// break;
				// }
				#ifdef TEST_MODE
					case 'p': // Allows values to be entered for CAN pedal control
					{
						BSP_LED_Toggle(LED_RED);
					}
				#endif

				default: break;
			}
    		charCommand = 0;
    		commandIndex = 0;
    		memset(commandBuffer, 0, sizeof(commandBuffer));   // Initialize commandBuffer to have all 0s
    	}
    }
    else // Add the received byte to the commandBuffer
    {
    	commandBuffer[commandIndex++] = serialByte; // Post increment; writes to index 0 and then starts incrementing
    }

	 // Tells HAL to enable reception via interrupt
	 // Tells HAL to continue waiting for another byte of data from the terminal
	 // Commands do not work if this is commented out
	 HAL_UART_Receive_IT(&hcom_uart[COM1], &serialByte, 1);  // Receives 1 byte of data and triggers interrupt;

//   osDelay(50);
  }
  /* USER CODE END StartCommands */
}

void StartReadingCANRX(void *argument)
{
  /* USER CODE BEGIN StartReadingCANRX */
  /* Infinite loop */
  for(;;)
  {
//	CANRxMessage readCAN;
//	osMessageQueueGet(processCANHandle, &readCAN, NULL, osWaitForever); // Gets and removes item from CANRx queue; puts task in blocked state if queue is full
//
//	if((readCAN.id & 0xFF) == mcNodeId) // Checks if an MC message was received
//	{
//		// Relevant MC messages
//		switch(readCAN.id >> 5) // Need to get this to be the
//		{
//			case 0x20: // General MC message
//			{
//				BSP_LED_Toggle(LED_YELLOW);
//				break;
//			}
//			default:
//				break;
//		}
//	}

    osDelay(1000);
  }
  /* USER CODE END StartReadingCANRX */
}

void StartPedalErrorCheck(void *argument)
{
  /* USER CODE BEGIN StartPedalErrorCheck */
  /* Infinite loop */
  for(;;)
  {
	  inputPedalVoltagePercentages[0] = (inputPedalVoltage[0])/(maxPedalVoltage[0]-minPedalVoltage[0]); // APPS output 1 voltage percentage
	  inputPedalVoltagePercentages[1] = (inputPedalVoltage[1])/(maxPedalVoltage[1]-minPedalVoltage[1]); // APPS output 2 voltage percentage

	  // Checks if the difference between both pedal outputs is greater than the max allowed percent difference
	if (fabsf(inputPedalVoltagePercentages[0] - inputPedalVoltagePercentages[1]) > (maxPedalVoltageDifferencePercentage/100)) // Use fabsf() for floats
	{
		currentState = FAULT;
//		BSP_LED_Toggle(LED_YELLOW);
	}
	else
	{
		currentState = READY;
	}
    osDelay(50);
  }
  /* USER CODE END StartPedalErrorCheck */
}

 /* MPU Configuration */

void MPU_Config(void)
{
  MPU_Region_InitTypeDef MPU_InitStruct = {0};

  /* Disables the MPU */
  HAL_MPU_Disable();

  /** Initializes and configures the Region and the memory to be protected
  */
  MPU_InitStruct.Enable = MPU_REGION_ENABLE;
  MPU_InitStruct.Number = MPU_REGION_NUMBER0;
  MPU_InitStruct.BaseAddress = 0x0;
  MPU_InitStruct.Size = MPU_REGION_SIZE_4GB;
  MPU_InitStruct.SubRegionDisable = 0x87;
  MPU_InitStruct.TypeExtField = MPU_TEX_LEVEL0;
  MPU_InitStruct.AccessPermission = MPU_REGION_NO_ACCESS;
  MPU_InitStruct.DisableExec = MPU_INSTRUCTION_ACCESS_DISABLE;
  MPU_InitStruct.IsShareable = MPU_ACCESS_SHAREABLE;
  MPU_InitStruct.IsCacheable = MPU_ACCESS_NOT_CACHEABLE;
  MPU_InitStruct.IsBufferable = MPU_ACCESS_NOT_BUFFERABLE;

  HAL_MPU_ConfigRegion(&MPU_InitStruct);
  /* Enables the MPU */
  HAL_MPU_Enable(MPU_PRIVILEGED_DEFAULT);

}

void HAL_TIM_PeriodElapsedCallback(TIM_HandleTypeDef *htim)
{
  if (htim->Instance == TIM6)
  {
    HAL_IncTick();
  }
}

void Error_Handler(void)
{
  __disable_irq();
  while (1)
  {
  }
}
